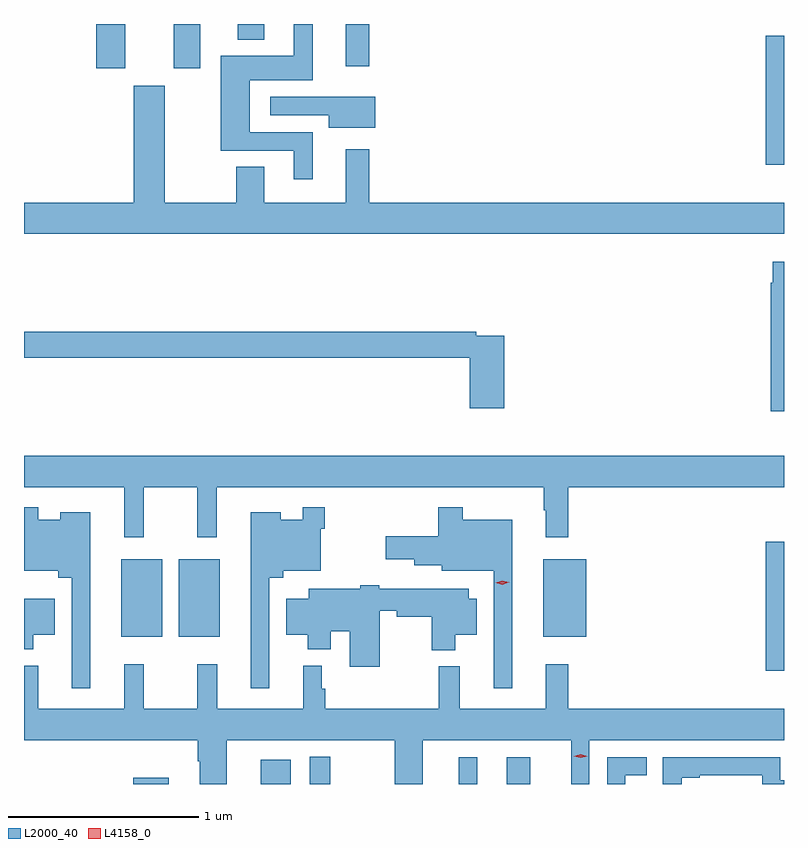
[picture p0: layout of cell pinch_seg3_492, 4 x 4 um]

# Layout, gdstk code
import gdstk
lib = gdstk.Library(unit=1e-6, precision=1e-09)
def R(c, l, rs):  # rectangles x0, y0, x1, y1
    for r in rs: c.add(gdstk.rectangle(r[:2], r[2:], *l))
def P(c, l, *ps):  # polygons
    for p in ps: c.add(gdstk.Polygon(p, *l))
L2000_40 = (2000, 40)
L4158_0 = (4158, 0)

pinch_seg3_492 = lib.new_cell('pinch_seg3_492')
R(pinch_seg3_492, L2000_40, [(998.059,675.377,998.248,675.409), (998.732,675.377,998.89,675.505), (998.988,675.377,999.097,675.52), (999.773,675.377,999.871,675.517), (1000.026,675.377,1000.15,675.517), (1001.389,675.972,1001.485,676.652), (997.997,676.151,998.212,676.561), (998.3,676.151,998.515,676.561), (1000.217,676.151,1000.444,676.561), (1001.389,678.636,1001.485,679.316), (997.865,679.143,998.017,679.377), (998.273,679.143,998.413,679.377), (999.179,679.155,999.301,679.377), (998.609,679.295,998.749,679.377)])
P(pinch_seg3_492, L2000_40, [(999.004,678.807),(998.674,678.807),(998.674,679.082),(999.004,679.082),(999.004,679.377),(998.906,679.377),(998.906,679.21),(998.521,679.21),(998.521,678.711),(998.906,678.711),(998.906,678.561),(999.004,678.561)],
  [(1001.485,678.436),(999.301,678.436),(999.301,678.718),(999.179,678.718),(999.179,678.436),(998.749,678.436),(998.749,678.626),(998.602,678.626),(998.602,678.436),(998.227,678.436),(998.227,679.051),(998.063,679.051),(998.063,678.436),(997.485,678.436),(997.485,678.272),(1001.485,678.272)],
  [(999.334,678.994),(999.093,678.994),(999.093,678.993),(998.781,678.993),(998.781,678.897),(999.089,678.897),(999.089,678.83),(999.334,678.83)],
  [(1001.485,678.127),(1001.426,678.127),(1001.426,678.014),(1001.414,678.014),(1001.414,677.34),(1001.485,677.34)],
  [(1000.013,677.736),(999.866,677.736),(999.866,677.756),(997.485,677.756),(997.485,677.62),(999.83,677.62),(999.83,677.355),(1000.013,677.355)],
  [(997.485,676.94),(998.012,676.94),(998.012,676.677),(998.114,676.677),(998.114,676.94),(998.398,676.94),(998.398,676.677),(998.5,676.677),(998.5,676.94),(1000.221,676.94),(1000.221,676.817),(1000.232,676.817),(1000.232,676.677),(1000.349,676.677),(1000.349,676.94),(1001.485,676.94),(1001.485,677.104),(997.485,677.104)],
  [(1000.054,676.768),(999.793,676.768),(999.793,676.834),(999.664,676.834),(999.664,676.681),(999.39,676.681),(999.39,676.559),(999.539,676.559),(999.539,676.529),(999.683,676.529),(999.683,676.499),(999.957,676.499),(999.957,675.882),(1000.054,675.882)],
  [(998.775,676.463),(998.849,676.463),(998.849,676.499),(999.048,676.499),(999.048,676.721),(999.068,676.721),(999.068,676.834),(998.952,676.834),(998.952,676.768),(998.836,676.768),(998.836,676.807),(998.678,676.807),(998.678,675.882),(998.775,675.882)],
  [(997.834,676.807),(997.676,676.807),(997.676,676.768),(997.56,676.768),(997.56,676.834),(997.485,676.834),(997.485,676.499),(997.664,676.499),(997.664,676.463),(997.737,676.463),(997.737,675.882),(997.834,675.882)],
  [(999.358,676.288),(999.446,676.288),(999.446,676.258),(999.632,676.258),(999.632,676.082),(999.754,676.082),(999.754,676.163),(999.868,676.163),(999.868,676.351),(999.826,676.351),(999.826,676.404),(999.354,676.404),(999.354,676.424),(999.254,676.424),(999.254,676.405),(998.984,676.405),(998.984,676.351),(998.864,676.351),(998.864,676.163),(998.978,676.163),(998.978,676.085),(999.1,676.085),(999.1,676.181),(999.2,676.181),(999.2,675.993),(999.358,675.993)],
  [(997.534,676.163),(997.648,676.163),(997.648,676.351),(997.485,676.351),(997.485,676.085),(997.534,676.085)],
  [(998.551,675.608),(999.436,675.608),(999.436,675.377),(999.583,675.377),(999.583,675.608),(1000.364,675.608),(1000.364,675.377),(1000.461,675.377),(1000.461,675.608),(1001.485,675.608),(1001.485,675.772),(1000.349,675.772),(1000.349,676.006),(1000.232,676.006),(1000.232,675.772),(999.779,675.772),(999.779,675.997),(999.669,675.997),(999.669,675.772),(999.071,675.772),(999.071,675.879),(999.052,675.879),(999.052,676),(998.954,676),(998.954,675.772),(998.501,675.772),(998.501,676.006),(998.398,676.006),(998.398,675.772),(998.114,675.772),(998.114,676.006),(998.012,676.006),(998.012,675.772),(997.559,675.772),(997.559,676),(997.485,676),(997.485,675.608),(998.399,675.608),(998.399,675.496),(998.411,675.496),(998.411,675.377),(998.551,675.377)],
  [(1000.65,675.423),(1000.763,675.423),(1000.763,675.519),(1000.554,675.519),(1000.554,675.377),(1000.65,675.377)],
  [(1000.946,675.411),(1001.041,675.411),(1001.041,675.423),(1001.37,675.423),(1001.37,675.377),(1001.485,675.377),(1001.485,675.396),(1001.466,675.396),(1001.466,675.519),(1000.848,675.519),(1000.848,675.377),(1000.946,675.377)])
P(pinch_seg3_492, L4158_0, [(1000.414,675.514),(1000.378,675.524),(1000.378,675.524),(1000.378,675.524),(1000.414,675.534),(1000.449,675.524),(1000.449,675.524),(1000.449,675.524)],
  [(1000.003,676.427),(999.968,676.435),(999.967,676.436),(999.968,676.436),(1000.002,676.447),(1000.037,676.438),(1000.038,676.438),(1000.037,676.438)])

lib.write_gds('pinch_seg3_492.gds')
